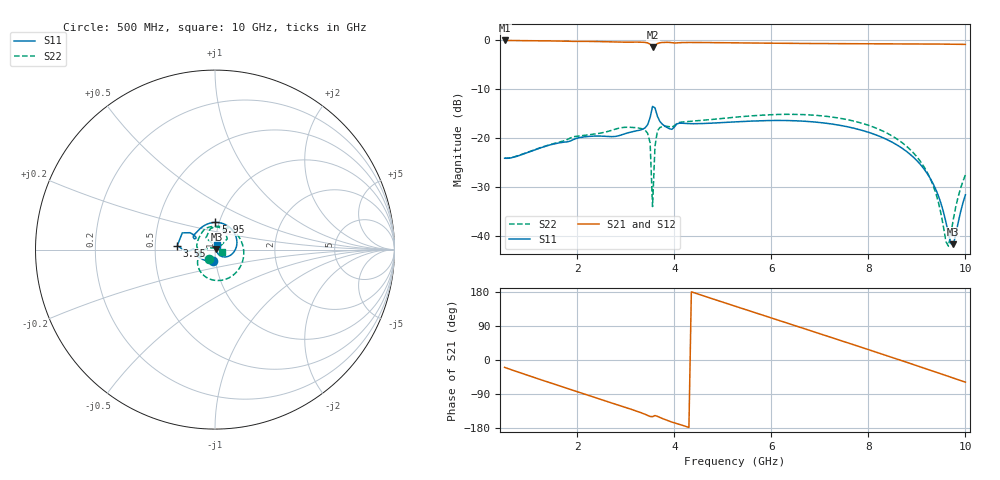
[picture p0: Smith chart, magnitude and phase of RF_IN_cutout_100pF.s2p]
! Touchstone file exported from HFSS 3D Layout Design 2026.1.0
!  File:  F:/1.Hardware/HFSS/SP8T/SP8T_HFSS.aedt
!  Generated:  11:45:58 PM Aug  6, 2026
!  Design:  RF_IN_cutout
!  Project:  SP8T_HFSS
! Variables:
!  BendModel = 0
# GHz S MA R 50.000000
! Terminal data exported
! Port[1] = Port1
! Port[2] = S1_1_Pin_T1
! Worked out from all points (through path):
!   191 points, 500 MHz to 10 GHz, reference 50 ohm
!   highest |S21| = -0.07 dB at 500 MHz (marker M1); lowest = -1.4 dB at 3.55 GHz (marker M2)
!   group delay of S21, straight-line fit = 116 ps
!   lowest |S11| = -41.6 dB at 9.75 GHz (marker M3), VSWR 1.02, Z = 50.8 + j0.244 ohm
!   |S11| at or under -10 dB: start of sweep to end of sweep
!   |S22| runs from -42.0 to -15.1 dB; largest |S21 - S12| = 1.7e-14
!   S11 on the Smith chart (normalised r, x): 500 MHz: 0.97, -0.12; 3.55 GHz: 0.65, +0.03; 5.95 GHz: 0.96, +0.30; 10 GHz: 1.02, +0.05
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0.5  0.06262 -100.3  0.9921 -19.5  0.9921 -19.5  0.06281 -120.2
1.35  0.08319 -134.9  0.9828 -56.4  0.9828 -56.4  0.08374 -163.7
2.1  0.1027 -159.0  0.972 -87.9  0.972 -87.9  0.1065 157.9
2.7  0.104 -175.1  0.9584 -113.2  0.9584 -113.2  0.1203 126.8
3.4  0.1283 180.0  0.9465 -143.5  0.9465 -143.5  0.1204 67.5
3.5  0.1626 -176.4  0.9105 -149.1  0.9105 -149.1  0.08993 41.2
3.55  0.2113 173.9  0.8527 -149.6  0.8527 -149.6  0.02018 21.7
3.6  0.2047 152.9  0.8764 -146.6  0.8764 -146.6  0.08268 127.7
3.7  0.149 145.3  0.9394 -151.6  0.9394 -151.6  0.1286 89.5
3.95  0.1234 149.9  0.9427 -163.9  0.9427 -163.9  0.1303 64.0
4.45  0.1409 135.5  0.9459 175.6  0.9459 175.6  0.1502 30.0
5.25  0.147 112.8  0.9385 142.1  0.9385 142.1  0.164 -14.2
5.95  0.1517 89.2  0.9307 113.0  0.9307 113.0  0.1735 -47.9
6.85  0.1472 53.4  0.9233 75.6  0.9233 75.6  0.1724 -86.9
7.7  0.1268 15.9  0.9189 40.1  0.9189 40.1  0.1497 -121.2
8.45  0.09348 -18.6  0.9167 8.4  0.9167 8.4  0.1084 -151.3
9.2  0.04473 -49.7  0.9135 -23.7  0.9135 -23.7  0.04615 173.8
9.45  0.02541 -53.8  0.9116 -34.5  0.9116 -34.5  0.02165 152.4
9.6  0.01393 -44.1  0.9101 -41.0  0.9101 -41.0  0.008841 105.1
9.65  0.01068 -32.8  0.9096 -43.2  0.9096 -43.2  0.007971 65.3
9.75  0.008321 16.8  0.9083 -47.6  0.9083 -47.6  0.01486 13.4
10  0.02654 63.4  0.9046 -58.5  0.9046 -58.5  0.0423 -18.0
